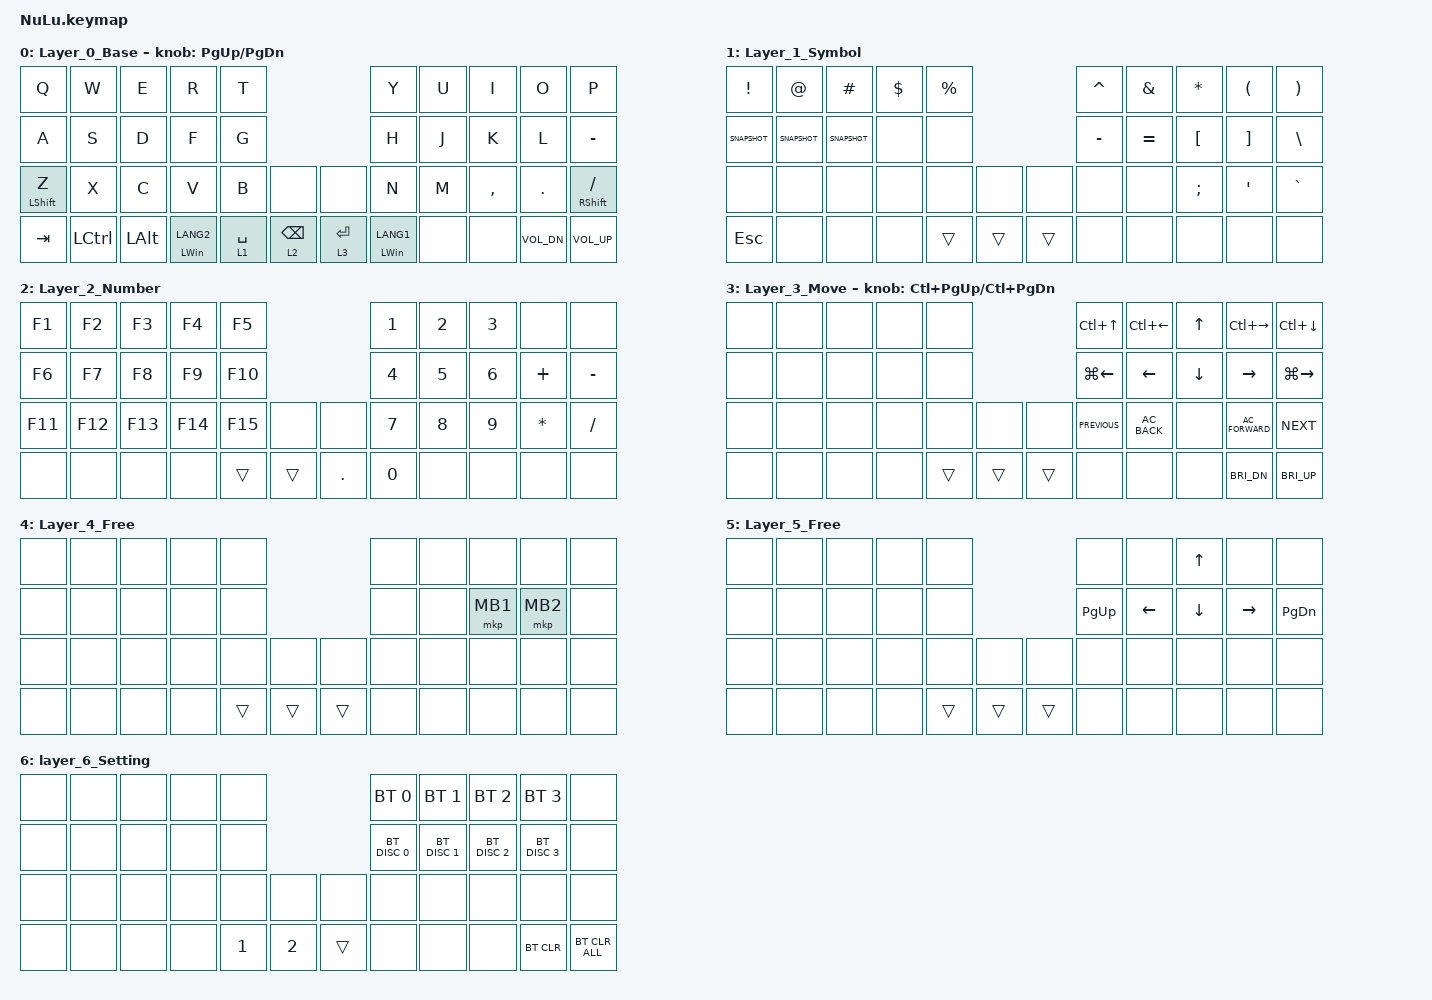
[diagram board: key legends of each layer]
#include <behaviors.dtsi>
#include <dt-bindings/zmk/bt.h>
#include <dt-bindings/zmk/keys.h>
#include <dt-bindings/zmk/pointing.h>
#include <input/processors.dtsi>

#define MOUSE 4
#define SCROLL 5
#define NUM 6
#define ZMK_POINTING_DEFAULT_SCRL_VAL 80

&mkp_input_listener {
    input-processors = <&zip_temp_layer MOUSE 250>;
};

&mt {
    flavor = "balanced";
    quick-tap-ms = <0>;
};

/ {
    combos {
        compatible = "zmk,combos";

        tab {
            bindings = <&kp TAB>;
            key-positions = <11 12>;
        };

        shift_tab {
            bindings = <&kp LS(TAB)>;
            key-positions = <12 13>;
        };

        muhennkann {
            bindings = <&to_layer_0 INT_MUHENKAN>;
            key-positions = <11 10>;
        };

        double_quotation {
            bindings = <&kp DOUBLE_QUOTES>;
            key-positions = <20 21>;
        };

        eq {
            bindings = <&kp EQUAL>;
            key-positions = <24 25>;
        };

        mb3 {
            bindings = <&mkp MB3>;
            key-positions = <18 19>;
        };

        scroll {
            bindings = <&mo SCROLL>;
            key-positions = <17 18>;
            layers = <MOUSE>;
        };

        setting {
            bindings = <&mo NUM>;
            key-positions = <36 37>;
            layers = <0>;
        };
    };

    macros {
        to_layer_0: to_layer_0 {
            compatible = "zmk,behavior-macro-one-param";
            #binding-cells = <1>;
            bindings = <&to 0 &macro_param_1to1 &kp MACRO_PLACEHOLDER>;
            label = "TO_LAYER_0";
        };
    };

    behaviors {
        lt_to_layer_0: lt_to_layer_0 {
            compatible = "zmk,behavior-hold-tap";
            label = "LAYER_TAP_TO_0";
            bindings = <&mo>, <&to_layer_0>;

            #binding-cells = <2>;
            tapping-term-ms = <200>;
        };
    };

    keymap {
        compatible = "zmk,keymap";

        Layer_0_Base {
            bindings = <
&kp Q            &kp W        &kp E        &kp R            &kp T                                           &kp Y              &kp U            &kp I     &kp O        &kp P
&kp A            &kp S        &kp D        &kp F            &kp G                                           &kp H              &kp J            &kp K     &kp L        &kp MINUS
&mt LEFT_SHIFT Z &kp X        &kp C        &kp V            &kp B            &none               &none      &kp N              &kp M            &kp COMMA &kp DOT      &mt RIGHT_SHIFT SLASH
&kp TAB          &kp LCTRL    &kp LEFT_ALT &mt LEFT_WIN LANG2 &lt 1 SPACE    &lt 2 BACKSPACE     &lt 3 ENTER &mt LEFT_WIN LANG1 &none           &none     &kp C_VOL_DN &kp C_VOL_UP
            >;

            sensor-bindings = <&inc_dec_kp PG_UP PAGE_DOWN>;
        };


    Layer_1_Symbol {
            bindings = <
&kp EXCLAMATION &kp AT_SIGN     &kp HASH       &kp DOLLAR     &kp PERCENT                               &kp CARET &kp AMPERSAND &kp ASTERISK  &kp LEFT_PARENTHESIS  &kp RIGHT_PARENTHESIS
&kp C_SNAPSHOT  &kp C_SNAPSHOT  &kp C_SNAPSHOT &none          &none                                     &kp MINUS &kp EQUAL     &kp LBKT      &kp RBKT              &kp BSLH
&none           &none           &none          &none          &none        &none              &none     &none     &none         &kp SEMICOLON &kp SQT               &kp GRAVE
&kp ESC         &none           &none          &none          &trans       &trans             &trans    &none     &none         &none        &none                 &none
            >;
        };

    Layer_2_Number {
            bindings = <
&kp F1  &kp F2  &kp F3  &kp F4  &kp F5                               &kp NUMBER_1 &kp NUMBER_2 &kp NUMBER_3 &none        &none
&kp F6  &kp F7  &kp F8  &kp F9  &kp F10                              &kp NUMBER_4 &kp NUMBER_5 &kp NUMBER_6 &kp PLUS     &kp MINUS
&kp F11 &kp F12 &kp F13 &kp F14 &kp F15 &none                &none   &kp NUMBER_7 &kp NUMBER_8 &kp NUMBER_9 &kp ASTERISK &kp SLASH
&none   &none   &none   &none   &trans  &trans               &kp DOT &kp NUMBER_0 &none        &none        &none        &none
            >;
        };


    Layer_3_Move {
            bindings = <
&none   &none   &none   &none   &none                       &kp LC(UP)       &kp LC(LEFT)    &kp UP    &kp LC(RIGHT)    &kp LC(DOWN)
&none   &none   &none   &none   &none                       &kp LG(LEFT)     &kp LEFT        &kp DOWN  &kp RIGHT        &kp LG(RIGHT)
&none   &none   &none   &none   &none   &none       &none   &kp C_PREVIOUS   &kp C_AC_BACK   &none     &kp C_AC_FORWARD &kp C_NEXT
&none   &none   &none   &none   &trans  &trans      &trans  &none            &none           &none     &kp C_BRI_DN     &kp C_BRI_UP
            >;

            sensor-bindings = <&inc_dec_kp LC(PAGE_UP) LC(PAGE_DOWN)>;
        };

    Layer_4_Free {
            bindings = <
&none   &none   &none   &none   &none                       &none   &none    &none    &none    &none
&none   &none   &none   &none   &none                       &none   &none    &mkp MB1 &mkp MB2 &none
&none   &none   &none   &none   &none   &none       &none   &none   &none    &none    &none    &none
&none   &none   &none   &none   &trans  &trans      &trans  &none   &none    &none    &none    &none
            >;
        };

    Layer_5_Free {
            bindings = <
&none   &none   &none   &none   &none                       &none       &none    &kp UP   &none     &none
&none   &none   &none   &none   &none                       &kp PAGE_UP &kp LEFT &kp DOWN &kp RIGHT &kp PAGE_DOWN
&none   &none   &none   &none   &none   &none       &none   &none       &none    &none    &none     &none
&none   &none   &none   &none   &trans  &trans      &trans  &none       &none    &none    &none     &none
            >;
        };

    layer_6_Setting {
            bindings = <
&none   &none   &none   &none   &none                                         &bt BT_SEL 0  &bt BT_SEL 1  &bt BT_SEL 2  &bt BT_SEL 3    &none
&none   &none   &none   &none   &none                                         &bt BT_DISC 0 &bt BT_DISC 1 &bt BT_DISC 2 &bt BT_DISC 3   &none
&none   &none   &none   &none   &none         &none              &none        &none         &none         &none         &none           &none
&none   &none   &none   &none   &kp NUMBER_1  &kp NUMBER_2       &trans       &none         &none         &none         &bt BT_CLR     &bt BT_CLR_ALL
            >;
        };
    };
};
